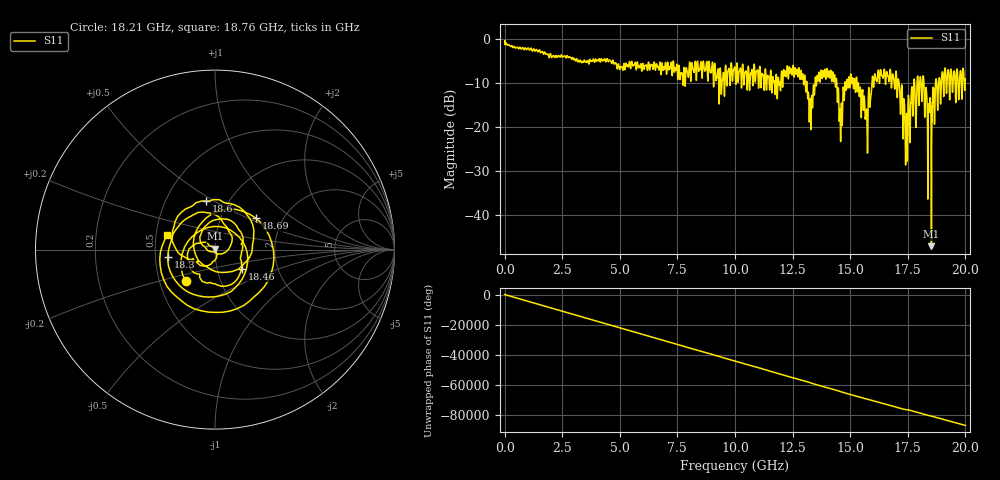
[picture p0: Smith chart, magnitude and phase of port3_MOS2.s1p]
! MS46122B
! 2250307/22442219
! 6/13/2025 3:28:58 PM
! C:\USERS\SPARKY\DOCUMENTS\VNA_DATA\JUNE13_2025\3.2K\PORT3_MOS2.S1P
! CHANNEL.1
! TR.MEASUREMENT
! RAW.DATA
# GHZ S RI R 50.0
! FREQ.GHZ  S11RE  S11IM
!; PortSelection: Port_1
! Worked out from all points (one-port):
!   10001 points, 1 MHz to 20 GHz, reference 50 ohm
!   lowest |S11| = -47.2 dB at 18.53 GHz (marker M1), VSWR 1.01, Z = 50 + j0.435 ohm
!   |S11| at or under -10 dB: 15.35 GHz to 15.94 GHz (587.4 MHz wide, 3.75 % of centre); 17.12 GHz to 17.76 GHz (636.7 MHz wide, 3.65 % of centre); 18.2 GHz to 18.7 GHz (499.4 MHz wide, 2.71 % of centre) (the widest 3 of 60)
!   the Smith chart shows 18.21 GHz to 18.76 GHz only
!   S11 on the Smith chart (normalised r, x): 18.21 GHz: 0.68, -0.25; 18.3 GHz: 0.58, -0.05; 18.46 GHz: 1.32, -0.29; 18.6 GHz: 0.79, +0.46; 18.69 GHz: 1.47, +0.56; 18.76 GHz: 0.57, +0.10
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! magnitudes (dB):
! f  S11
! 1 MHz  -0.6
! 2.501 GHz  -4.0
! 5.001 GHz  -6.9
! 7.501 GHz  -7.6
! 9.385 GHz  -8.8
! 10 GHz  -6.8
! 11.9 GHz  -10.0
! 12.5 GHz  -6.9
! 12.95 GHz  -8.2
! 13.29 GHz  -18.2
! 13.57 GHz  -8.3
! 14.24 GHz  -7.5
! 14.59 GHz  -22.8
! 15 GHz  -9.4
! 15.36 GHz  -10.1
! 15.67 GHz  -18.0
! 16.03 GHz  -9.6
! 16.92 GHz  -10.5
! 17.5 GHz  -18.2
! 17.72 GHz  -17.6
! 18.21 GHz  -12.4
! 18.3 GHz  -11.5
! 18.46 GHz  -14.7
! 18.53 GHz  -47.2
! 18.6 GHz  -11.2
! 18.69 GHz  -10.8
! 18.76 GHz  -11.1
! 20 GHz  -9.1
